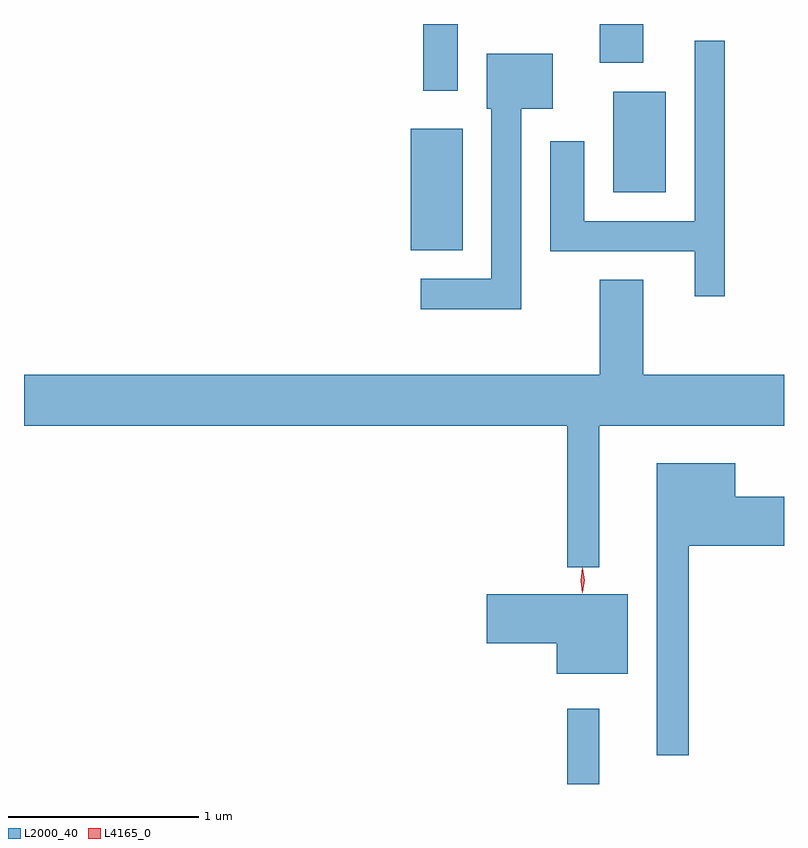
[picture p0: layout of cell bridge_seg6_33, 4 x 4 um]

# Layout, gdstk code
import gdstk
lib = gdstk.Library(unit=1e-6, precision=1e-09)
def R(c, l, rs):  # rectangles x0, y0, x1, y1
    for r in rs: c.add(gdstk.rectangle(r[:2], r[2:], *l))
def P(c, l, *ps):  # polygons
    for p in ps: c.add(gdstk.Polygon(p, *l))
L2000_40 = (2000, 40)
L4165_0 = (4165, 0)

bridge_seg6_33 = lib.new_cell('bridge_seg6_33')
R(bridge_seg6_33, L2000_40, [(1831.141,1610.311,1831.309,1610.708), (1830.316,1613.121,1830.589,1613.759), (1831.381,1613.426,1831.659,1613.954), (1830.381,1613.961,1830.564,1614.311), (1831.311,1614.106,1831.539,1614.311)])
P(bridge_seg6_33, L2000_40, [(1831.969,1614.223),(1831.811,1614.223),(1831.811,1613.274),(1831.229,1613.274),(1831.229,1613.694),(1831.051,1613.694),(1831.051,1613.116),(1831.811,1613.116),(1831.811,1612.878),(1831.969,1612.878)],
  [(1830.899,1613.866),(1831.064,1613.866),(1831.064,1614.154),(1830.716,1614.154),(1830.716,1613.866),(1830.741,1613.866),(1830.741,1612.969),(1830.368,1612.969),(1830.368,1612.811),(1830.899,1612.811)],
  [(1831.309,1612.196),(1832.281,1612.196),(1832.281,1612.464),(1831.539,1612.464),(1831.539,1612.964),(1831.311,1612.964),(1831.311,1612.464),(1828.281,1612.464),(1828.281,1612.196),(1831.141,1612.196),(1831.141,1611.453),(1831.309,1611.453)],
  [(1831.779,1611.566),(1832.281,1611.566),(1832.281,1611.824),(1832.024,1611.824),(1832.024,1611.999),(1831.611,1611.999),(1831.611,1610.463),(1831.779,1610.463)],
  [(1831.459,1611.309),(1830.716,1611.309),(1830.716,1611.051),(1831.086,1611.051),(1831.086,1610.891),(1831.459,1610.891)])
P(bridge_seg6_33, L4165_0, [(1831.219,1611.314),(1831.21,1611.382),(1831.219,1611.45),(1831.22,1611.45),(1831.22,1611.45),(1831.23,1611.382),(1831.22,1611.314),(1831.22,1611.314)],
  [(1831.222,1611.32),(1831.222,1611.32),(1831.212,1611.384),(1831.222,1611.446),(1831.222,1611.447),(1831.223,1611.446),(1831.232,1611.384),(1831.223,1611.32)])

lib.write_gds('bridge_seg6_33.gds')
